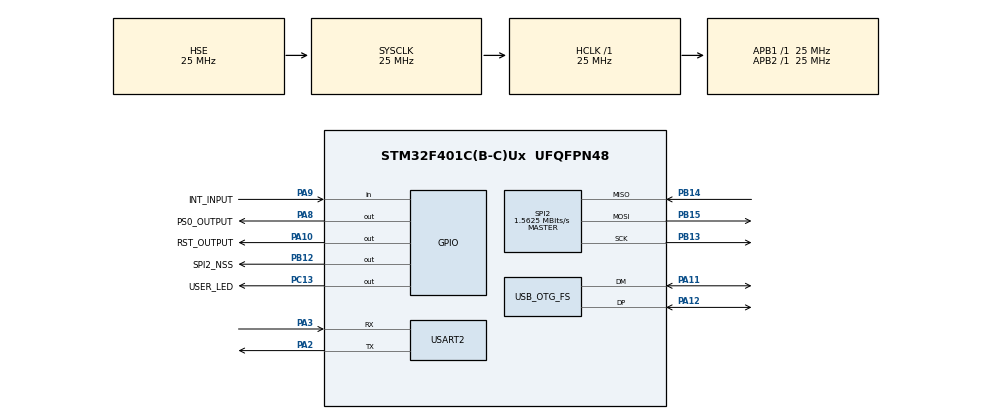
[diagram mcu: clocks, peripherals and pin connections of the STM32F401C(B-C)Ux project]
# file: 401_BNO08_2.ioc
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Mcu.Family=STM32F4
Mcu.Name=STM32F401C(B-C)Ux
Mcu.Package=UFQFPN48
NVIC.OTG_FS_IRQn=true\:0\:0\:false\:false\:true\:false\:true\:true
NVIC.PriorityGroup=NVIC_PRIORITYGROUP_4
PA10.GPIO_Label=RST_OUTPUT
PA10.Signal=GPIO_Output
PA11.Mode=Device_Only
PA11.Signal=USB_OTG_FS_DM
PA12.Mode=Device_Only
PA12.Signal=USB_OTG_FS_DP
PA13.Mode=Serial_Wire
PA13.Signal=SYS_JTMS-SWDIO
PA14.Mode=Serial_Wire
PA14.Signal=SYS_JTCK-SWCLK
PA2.Mode=Asynchronous
PA2.Signal=USART2_TX
PA3.Mode=Asynchronous
PA3.Signal=USART2_RX
PA8.GPIO_Label=PS0_OUTPUT
PA8.Signal=GPIO_Output
PA9.GPIO_Label=INT_INPUT
PA9.Signal=GPIO_Input
PB12.GPIO_Label=SPI2_NSS
PB12.Signal=GPIO_Output
PB13.Mode=Full_Duplex_Master
PB13.Signal=SPI2_SCK
PB14.Mode=Full_Duplex_Master
PB14.Signal=SPI2_MISO
PB15.Mode=Full_Duplex_Master
PB15.Signal=SPI2_MOSI
PC13-ANTI_TAMP.GPIO_Label=USER_LED
PC13-ANTI_TAMP.Signal=GPIO_Output
PH0\ -\ OSC_IN.Mode=HSE-External-Oscillator
PH0\ -\ OSC_IN.Signal=RCC_OSC_IN
PH1\ -\ OSC_OUT.Mode=HSE-External-Oscillator
PH1\ -\ OSC_OUT.Signal=RCC_OSC_OUT
ProjectManager.HeapSize=0x200
ProjectManager.StackSize=0x400
ProjectManager.TargetToolchain=STM32CubeIDE
RCC.48MHZClocksFreq_Value=48000000
RCC.AHBFreq_Value=25000000
RCC.APB1Freq_Value=25000000
RCC.APB1TimFreq_Value=25000000
RCC.APB2Freq_Value=25000000
RCC.APB2TimFreq_Value=25000000
RCC.CortexFreq_Value=25000000
RCC.HCLKFreq_Value=25000000
RCC.HSE_VALUE=25000000
RCC.HSI_VALUE=16000000
RCC.LSE_VALUE=32768
RCC.PLLM=15
RCC.PLLN=144
RCC.PLLQ=5
RCC.SYSCLKFreq_VALUE=25000000
RCC.SYSCLKSource=RCC_SYSCLKSOURCE_HSE
RCC.VCOOutputFreq_Value=240000000
SPI2.BaudRatePrescaler=SPI_BAUDRATEPRESCALER_16
SPI2.CLKPhase=SPI_PHASE_2EDGE
SPI2.CLKPolarity=SPI_POLARITY_HIGH
SPI2.CalculateBaudRate=1.5625 MBits/s
SPI2.Direction=SPI_DIRECTION_2LINES
SPI2.Mode=SPI_MODE_MASTER
SPI2.VirtualType=VM_MASTER
USART2.VirtualMode=VM_ASYNC
USB_DEVICE.CLASS_NAME_FS=CDC
USB_DEVICE.VirtualMode=Cdc
USB_DEVICE.VirtualModeFS=Cdc_FS
USB_OTG_FS.VirtualMode=Device_Only
VP_USB_DEVICE_VS_USB_DEVICE_CDC_FS.Mode=CDC_FS
board=custom

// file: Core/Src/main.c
/* USER CODE BEGIN Header */
/**
  ******************************************************************************
  * @file           : main.c
  * @brief          : Main program body
  ******************************************************************************
  * @attention
  *
  * Copyright (c) 2023 STMicroelectronics.
  * All rights reserved.
  *
  * This software is licensed under terms that can be found in the LICENSE file
  * in the root directory of this software component.
  * If no LICENSE file comes with this software, it is provided AS-IS.
  *
  ******************************************************************************
  */
/* USER CODE END Header */
#include "main.h"
#include "usb_device.h"

/* USER CODE BEGIN Includes */
#include "usbd_cdc.h"
#include "usbd_cdc_if.h"
#include "bno080.h"
#include "Quaternion.h"

/* USER CODE END Includes */

UART_HandleTypeDef huart2;

void SystemClock_Config(void);
static void MX_GPIO_Init(void);
static void MX_SPI2_Init(void);
static void MX_USART2_UART_Init(void);

/* USER CODE BEGIN 0 */

#ifdef __GNUC__
#define PUTCHAR_PROTOTYPE int __io_putchar(int ch)
#else
#define PUTCHAR_PROTOTYPE int fputc(int ch, FILE *f)
#endif

PUTCHAR_PROTOTYPE
{
  HAL_UART_Transmit(&huart2, (uint8_t *)&ch, 1, HAL_MAX_DELAY);
  return ch;
}

float q[4];
float quatRadianAccuracy;

/* USER CODE END 0 */

int main(void)
{

  /* MCU Configuration--------------------------------------------------------*/

  /* Reset of all peripherals, Initializes the Flash interface and the Systick. */
  HAL_Init();

  /* Configure the system clock */
  SystemClock_Config();

  /* Initialize all configured peripherals */
  MX_GPIO_Init();
  MX_SPI2_Init();
  MX_USB_DEVICE_Init();
  MX_USART2_UART_Init();
  /* USER CODE BEGIN 2 */

  BNO080_Initialization();
  BNO080_enableRotationVector(2500); //enable rotation vector at 400Hz

  /* USER CODE END 2 */

  /* Infinite loop */
  while (1)
  {

    /* USER CODE BEGIN 3 */

	  if(BNO080_dataAvailable() == 1)
	  {
		  q[0] = BNO080_getQuatI();
		  q[1] = BNO080_getQuatJ();
		  q[2] = BNO080_getQuatK();
		  q[3] = BNO080_getQuatReal();
		  quatRadianAccuracy = BNO080_getQuatRadianAccuracy();

		  Quaternion_Update(&q[0]);

		  printf("%.2f\t%.2f\t%.2f\r\n", BNO080_Roll, BNO080_Pitch, BNO080_Yaw); //print roll, pitch, yaw in degree

		  HAL_GPIO_TogglePin(USER_LED_GPIO_Port, USER_LED_Pin);
	  }
  }
  /* USER CODE END 3 */
}

void SystemClock_Config(void)
{
  RCC_OscInitTypeDef RCC_OscInitStruct = {0};
  RCC_ClkInitTypeDef RCC_ClkInitStruct = {0};

  /** Configure the main internal regulator output voltage
  */
  __HAL_RCC_PWR_CLK_ENABLE();
  __HAL_PWR_VOLTAGESCALING_CONFIG(PWR_REGULATOR_VOLTAGE_SCALE2);

  /** Initializes the RCC Oscillators according to the specified parameters
  * in the RCC_OscInitTypeDef structure.
  */
  RCC_OscInitStruct.OscillatorType = RCC_OSCILLATORTYPE_HSE;
  RCC_OscInitStruct.HSEState = RCC_HSE_ON;
  RCC_OscInitStruct.PLL.PLLState = RCC_PLL_ON;
  RCC_OscInitStruct.PLL.PLLSource = RCC_PLLSOURCE_HSE;
  RCC_OscInitStruct.PLL.PLLM = 15;
  RCC_OscInitStruct.PLL.PLLN = 144;
  RCC_OscInitStruct.PLL.PLLP = RCC_PLLP_DIV2;
  RCC_OscInitStruct.PLL.PLLQ = 5;
  if (HAL_RCC_OscConfig(&RCC_OscInitStruct) != HAL_OK)
  {
    Error_Handler();
  }

  /** Initializes the CPU, AHB and APB buses clocks
  */
  RCC_ClkInitStruct.ClockType = RCC_CLOCKTYPE_HCLK|RCC_CLOCKTYPE_SYSCLK
                              |RCC_CLOCKTYPE_PCLK1|RCC_CLOCKTYPE_PCLK2;
  RCC_ClkInitStruct.SYSCLKSource = RCC_SYSCLKSOURCE_HSE;
  RCC_ClkInitStruct.AHBCLKDivider = RCC_SYSCLK_DIV1;
  RCC_ClkInitStruct.APB1CLKDivider = RCC_HCLK_DIV1;
  RCC_ClkInitStruct.APB2CLKDivider = RCC_HCLK_DIV1;

  if (HAL_RCC_ClockConfig(&RCC_ClkInitStruct, FLASH_LATENCY_0) != HAL_OK)
  {
    Error_Handler();
  }
}

static void MX_SPI2_Init(void)
{

  LL_SPI_InitTypeDef SPI_InitStruct = {0};

  LL_GPIO_InitTypeDef GPIO_InitStruct = {0};

  /* Peripheral clock enable */
  LL_APB1_GRP1_EnableClock(LL_APB1_GRP1_PERIPH_SPI2);

  LL_AHB1_GRP1_EnableClock(LL_AHB1_GRP1_PERIPH_GPIOB);
  /**SPI2 GPIO Configuration
  PB13   ------> SPI2_SCK
  PB14   ------> SPI2_MISO
  PB15   ------> SPI2_MOSI
  */
  GPIO_InitStruct.Pin = LL_GPIO_PIN_13|LL_GPIO_PIN_14|LL_GPIO_PIN_15;
  GPIO_InitStruct.Mode = LL_GPIO_MODE_ALTERNATE;
  GPIO_InitStruct.Speed = LL_GPIO_SPEED_FREQ_VERY_HIGH;
  GPIO_InitStruct.OutputType = LL_GPIO_OUTPUT_PUSHPULL;
  GPIO_InitStruct.Pull = LL_GPIO_PULL_NO;
  GPIO_InitStruct.Alternate = LL_GPIO_AF_5;
  LL_GPIO_Init(GPIOB, &GPIO_InitStruct);

  /* SPI2 parameter configuration*/
  SPI_InitStruct.TransferDirection = LL_SPI_FULL_DUPLEX;
  SPI_InitStruct.Mode = LL_SPI_MODE_MASTER;
  SPI_InitStruct.DataWidth = LL_SPI_DATAWIDTH_8BIT;
  SPI_InitStruct.ClockPolarity = LL_SPI_POLARITY_HIGH;
  SPI_InitStruct.ClockPhase = LL_SPI_PHASE_2EDGE;
  SPI_InitStruct.NSS = LL_SPI_NSS_SOFT;
  SPI_InitStruct.BaudRate = LL_SPI_BAUDRATEPRESCALER_DIV16;
  SPI_InitStruct.BitOrder = LL_SPI_MSB_FIRST;
  SPI_InitStruct.CRCCalculation = LL_SPI_CRCCALCULATION_DISABLE;
  SPI_InitStruct.CRCPoly = 10;
  LL_SPI_Init(SPI2, &SPI_InitStruct);
  LL_SPI_SetStandard(SPI2, LL_SPI_PROTOCOL_MOTOROLA);

}

static void MX_USART2_UART_Init(void)
{

  huart2.Instance = USART2;
  huart2.Init.BaudRate = 115200;
  huart2.Init.WordLength = UART_WORDLENGTH_8B;
  huart2.Init.StopBits = UART_STOPBITS_1;
  huart2.Init.Parity = UART_PARITY_NONE;
  huart2.Init.Mode = UART_MODE_TX_RX;
  huart2.Init.HwFlowCtl = UART_HWCONTROL_NONE;
  huart2.Init.OverSampling = UART_OVERSAMPLING_16;
  if (HAL_UART_Init(&huart2) != HAL_OK)
  {
    Error_Handler();
  }

}

static void MX_GPIO_Init(void)
{
  LL_GPIO_InitTypeDef GPIO_InitStruct = {0};

  /* GPIO Ports Clock Enable */
  LL_AHB1_GRP1_EnableClock(LL_AHB1_GRP1_PERIPH_GPIOC);
  LL_AHB1_GRP1_EnableClock(LL_AHB1_GRP1_PERIPH_GPIOH);
  LL_AHB1_GRP1_EnableClock(LL_AHB1_GRP1_PERIPH_GPIOA);
  LL_AHB1_GRP1_EnableClock(LL_AHB1_GRP1_PERIPH_GPIOB);

  /**/
  LL_GPIO_ResetOutputPin(USER_LED_GPIO_Port, USER_LED_Pin);

  /**/
  LL_GPIO_ResetOutputPin(SPI2_NSS_GPIO_Port, SPI2_NSS_Pin);

  /**/
  LL_GPIO_ResetOutputPin(GPIOA, PS0_OUTPUT_Pin|RST_OUTPUT_Pin);

  /**/
  GPIO_InitStruct.Pin = USER_LED_Pin;
  GPIO_InitStruct.Mode = LL_GPIO_MODE_OUTPUT;
  GPIO_InitStruct.Speed = LL_GPIO_SPEED_FREQ_LOW;
  GPIO_InitStruct.OutputType = LL_GPIO_OUTPUT_PUSHPULL;
  GPIO_InitStruct.Pull = LL_GPIO_PULL_NO;
  LL_GPIO_Init(USER_LED_GPIO_Port, &GPIO_InitStruct);

  /**/
  GPIO_InitStruct.Pin = SPI2_NSS_Pin;
  GPIO_InitStruct.Mode = LL_GPIO_MODE_OUTPUT;
  GPIO_InitStruct.Speed = LL_GPIO_SPEED_FREQ_LOW;
  GPIO_InitStruct.OutputType = LL_GPIO_OUTPUT_PUSHPULL;
  GPIO_InitStruct.Pull = LL_GPIO_PULL_NO;
  LL_GPIO_Init(SPI2_NSS_GPIO_Port, &GPIO_InitStruct);

  /**/
  GPIO_InitStruct.Pin = PS0_OUTPUT_Pin|RST_OUTPUT_Pin;
  GPIO_InitStruct.Mode = LL_GPIO_MODE_OUTPUT;
  GPIO_InitStruct.Speed = LL_GPIO_SPEED_FREQ_LOW;
  GPIO_InitStruct.OutputType = LL_GPIO_OUTPUT_PUSHPULL;
  GPIO_InitStruct.Pull = LL_GPIO_PULL_NO;
  LL_GPIO_Init(GPIOA, &GPIO_InitStruct);

  /**/
  GPIO_InitStruct.Pin = INT_INPUT_Pin;
  GPIO_InitStruct.Mode = LL_GPIO_MODE_INPUT;
  GPIO_InitStruct.Pull = LL_GPIO_PULL_NO;
  LL_GPIO_Init(INT_INPUT_GPIO_Port, &GPIO_InitStruct);

}

void Error_Handler(void)
{
  __disable_irq();
  while (1)
  {
  }
}
